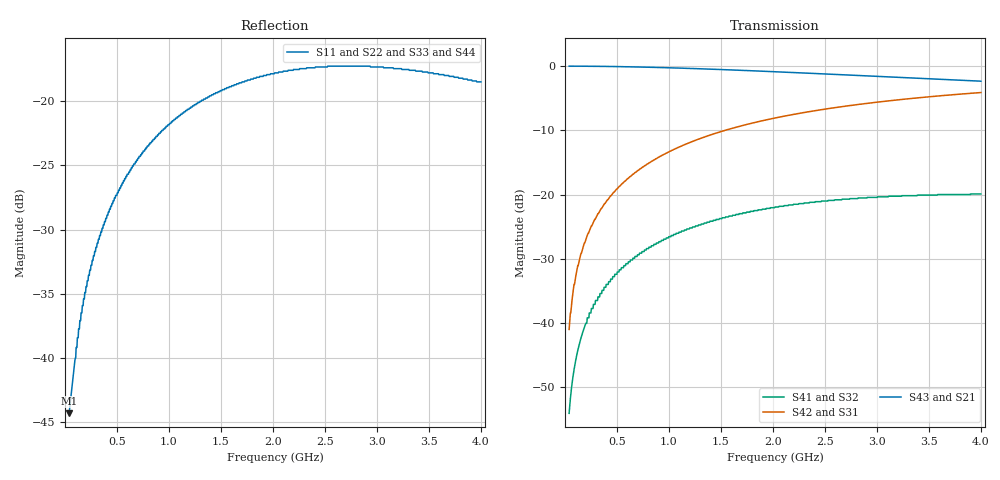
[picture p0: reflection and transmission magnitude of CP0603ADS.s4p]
!	AVX THIN FILM OPERATION
!	CP0805 DIRECTIONAL COUPLERS
!	P/N CP0603AxxxxDWTR/DSTR
!	Network	Analyzer HP8720ES.07.64:Feb23,2000 Serial No.US39172382
!	Hewlett-Packard
!	28 August 2007	02:45:57
# MHZ S MA R 50
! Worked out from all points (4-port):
!   1001 points, 40 MHz to 4 GHz, reference 50 ohm
!   strongest paths, dB at 40 MHz, 1.03 GHz, 2.02 GHz, 3.01 GHz, 4 GHz:
!     S43: 0.0, -0.3, -0.9, -1.6, -2.4
!     S21: 0.0, -0.3, -0.9, -1.6, -2.4
!     S42: -41.0, -13.1, -8.1, -5.6, -4.1
!     S31: -41.0, -13.1, -8.1, -5.6, -4.1
!     S41: -54.0, -26.4, -21.9, -20.4, -19.9
!     S32: -54.0, -26.4, -21.9, -20.4, -19.9
!   lowest |S11| = -44.3 dB at 40 MHz (marker M1), VSWR 1.01, Z = 50.5 - j0.366 ohm
!   |S11| at or under -10 dB: start of sweep to end of sweep
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40  0.006096 -36.5  0.995 -0.7  0.008937 89.2  0.001992 88.1
    0.995 -0.7  0.006096 -36.5  0.001992 88.1  0.008937 89.2
    0.008937 89.2  0.001992 88.1  0.006096 -36.5  0.995 -0.7
    0.001992 88.1  0.008937 89.2  0.995 -0.7  0.006096 -36.5
135.04  0.013 -70.9  0.994 -2.3  0.03 87.4  0.006718 84.2
        0.994 -2.3  0.013 -70.9  0.006718 84.2  0.03 87.4
        0.03 87.4  0.006718 84.2  0.013 -70.9  0.994 -2.3
        0.006718 84.2  0.03 87.4  0.994 -2.3  0.013 -70.9
273.64  0.025 -85.3  0.993 -4.8  0.061 84.9  0.014 78.5
        0.993 -4.8  0.025 -85.3  0.014 78.5  0.061 84.9
        0.061 84.9  0.014 78.5  0.025 -85.3  0.993 -4.8
        0.014 78.5  0.061 84.9  0.993 -4.8  0.025 -85.3
523.12  0.045 -96.8  0.987 -9.0  0.116 80.3  0.026 68.4
        0.987 -9.0  0.045 -96.8  0.026 68.4  0.116 80.3
        0.116 80.3  0.026 68.4  0.045 -96.8  0.987 -9.0
        0.026 68.4  0.116 80.3  0.987 -9.0  0.045 -96.8
923.08  0.076 -108.7  0.97 -15.7  0.199 73.2  0.043 52.5
        0.97 -15.7  0.076 -108.7  0.043 52.5  0.199 73.2
        0.199 73.2  0.043 52.5  0.076 -108.7  0.97 -15.7
        0.043 52.5  0.199 73.2  0.97 -15.7  0.076 -108.7
2218  0.133 -135.2  0.886 -35.3  0.422 53.3  0.084 4.5
      0.886 -35.3  0.133 -135.2  0.084 4.5  0.422 53.3
      0.422 53.3  0.084 4.5  0.133 -135.2  0.886 -35.3
      0.084 4.5  0.422 53.3  0.886 -35.3  0.133 -135.2
4000  0.119 -149.1  0.76 -57.5  0.621 32.3  0.101 -54.0
      0.76 -57.5  0.119 -149.1  0.101 -54.0  0.621 32.3
      0.621 32.3  0.101 -54.0  0.119 -149.1  0.76 -57.5
      0.101 -54.0  0.621 32.3  0.76 -57.5  0.119 -149.1
